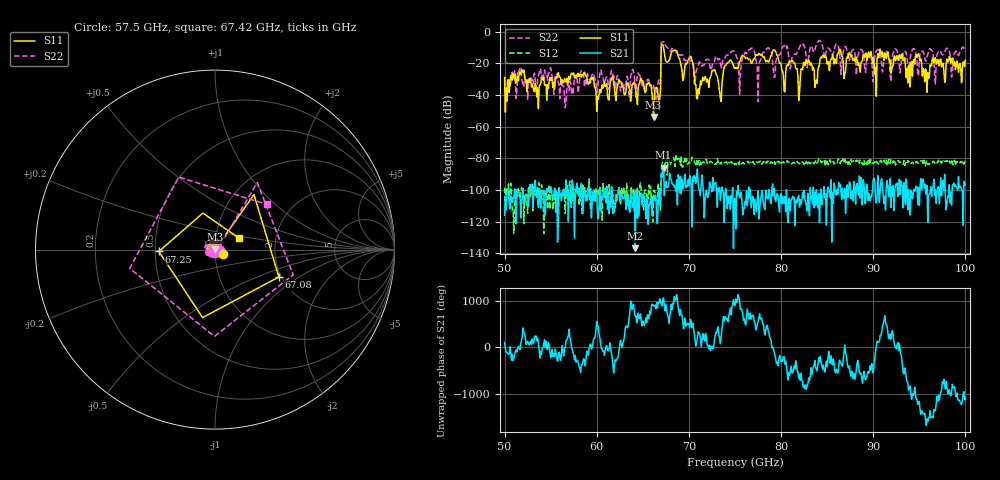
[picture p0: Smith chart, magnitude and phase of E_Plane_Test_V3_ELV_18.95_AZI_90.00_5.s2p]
! 11/26/2026 4:02:26 PM
! C:\ANRITSUVNA\TEMP\TEMP.S2P
! CHANNEL.1
! TR.MEASUREMENT
! RAW.DATA
# HZ S RI R 50.0
! FREQ.HZ  S11RE  S11IM  S21RE  S21IM  S12RE  S12IM  S22RE  S22IM
!; PortSelection: Port_12
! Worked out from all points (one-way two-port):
!   601 points, 50 GHz to 100 GHz, reference 50 ohm
!   highest |S21| = -86.01 dB at 67.25 GHz (marker M1); lowest = -137.0 dB at 64.17 GHz (marker M2)
!   lowest |S11| = -53.8 dB at 66.17 GHz (marker M3), VSWR 1.00, Z = 50.1 + j0.149 ohm
!   |S11| at or under -10 dB: start of sweep to 67 GHz; 67.25 GHz to end of sweep
!   |S22| runs from -48.1 to -5.6 dB; largest |S21 - S12| = 0.00014
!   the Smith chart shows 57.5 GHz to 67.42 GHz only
!   S11 on the Smith chart (normalised r, x): 57.5 GHz: 1.09, -0.05; 67.08 GHz: 1.94, -0.70; 67.25 GHz: 0.52, -0.01; 67.42 GHz: 1.29, +0.17
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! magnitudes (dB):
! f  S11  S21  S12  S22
! 50 GHz  -29.0  -116.0  -98.6  -35.9
! 51.67 GHz  -26.3  -101.9  -104.4  -23.3
! 53.42 GHz  -34.8  -103.4  -103.7  -35.5
! 57.5 GHz  -26.2  -102.8  -99.3  -34.7
! 58.42 GHz  -27.2  -105.6  -114.9  -24.7
! 60.17 GHz  -42.8  -118.3  -103.3  -30.4
! 64.17 GHz  -33.7  -137.0  -103.6  -33.8
! 66.17 GHz  -53.8  -107.1  -100.3  -34.0
! 66.67 GHz  -41.5  -108.1  -95.7  -31.7
! 67.08 GHz  -8.2  -91.7  -78.5  -6.8
! 67.25 GHz  -10.1  -86.0  -92.6  -6.3
! 67.42 GHz  -16.6  -96.8  -83.4  -8.3
! 70.25 GHz  -15.9  -98.1  -82.1  -18.8
! 70.92 GHz  -42.5  -86.8  -84.9  -23.0
! 75 GHz  -23.4  -105.3  -84.2  -13.0
! 79.25 GHz  -11.5  -99.2  -81.5  -28.8
! 80.25 GHz  -27.8  -107.9  -82.2  -9.3
! 83.42 GHz  -24.4  -109.0  -81.8  -10.8
! 91.67 GHz  -16.6  -104.3  -80.6  -15.1
! 94.83 GHz  -15.1  -109.1  -83.1  -27.9
! 95.83 GHz  -38.3  -97.3  -81.4  -16.5
! 100 GHz  -18.0  -97.1  -83.0  -12.5
